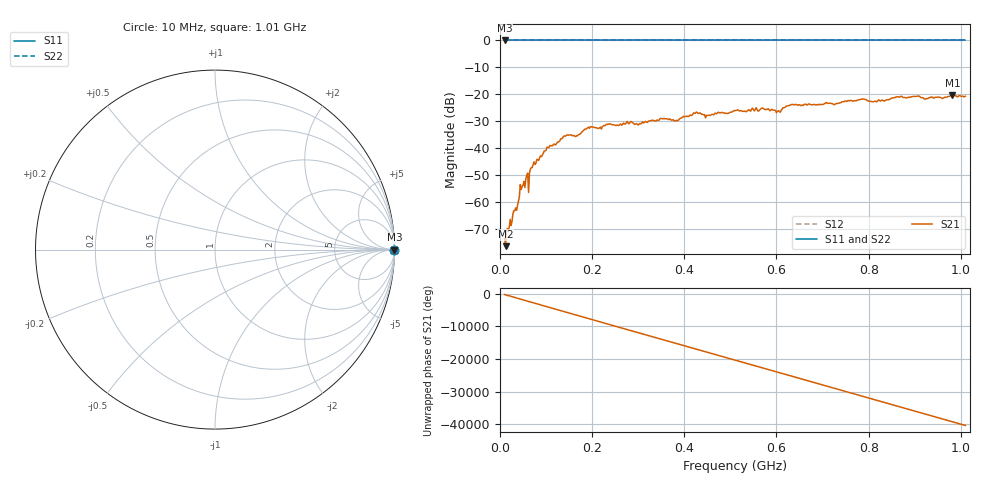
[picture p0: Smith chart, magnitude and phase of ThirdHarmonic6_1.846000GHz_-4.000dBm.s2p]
! 8/16/2025 10:20:18 PM
! C:\ANRITSUVNA\TEMP\TEMP.S2P
! CHANNEL.1
! TR.MEASUREMENT
! RAW.DATA
! RF.CORRECTION.OFF
! AVERAGING.OFF
! IF.BANDWIDTH: 5KHZ
! SWEEPTYPE:  FREQ.SWEEP(Linear)
! Reference Plane Port Info
! PORT:  PORT1  PORT2
! DISTANCE:  0  m  0  m
! TIME:  0  s  0  s
! PHASE.OFFSET:  0  deg.  0  deg.
! LOSS:  0  dB  0  dB
! REF.LOSS:  0  dB  0  dB
! REF.FREQ:  0  Hz  0  Hz
! Power Info
! POWER:  -20  dBm  -20  dBm
! EFF.POWER:  -20  dBm  -20  dBm
! SOURCE.ATTEN:  0  dB  0  dB
! TEST.ATTEN:  0  dB  0  dB
# GHZ S RI R 50.0
! FREQ.GHZ  S11RE  S11IM  S21RE  S21IM  S12RE  S12IM  S22RE  S22IM
!; PortSelection: Port_12
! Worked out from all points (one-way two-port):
!   501 points, 10 MHz to 1.01 GHz, reference 50 ohm
!   highest |S21| = -20.43 dB at 982 MHz (marker M1); lowest = -76.4 dB at 12 MHz (marker M2)
!   lowest |S11| = 0.0 dB at 10 MHz (marker M3)
!   |S11| at or under -10 dB: nowhere
!   |S22| runs from 0.0 to 0.0 dB; largest |S21 - S12| = 1.1
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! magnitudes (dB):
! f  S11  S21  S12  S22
! 10 MHz  0.0  -73.6  0.0  0.0
! 12 MHz  0.0  -76.4  0.0  0.0
! 38 MHz  0.0  -61.4  0.0  0.0
! 48 MHz  0.0  -54.2  0.0  0.0
! 56 MHz  0.0  -51.4  0.0  0.0
! 58 MHz  0.0  -50.2  0.0  0.0
! 70 MHz  0.0  -47.2  0.0  0.0
! 106 MHz  0.0  -39.8  0.0  0.0
! 142 MHz  0.0  -35.6  0.0  0.0
! 178 MHz  0.0  -33.9  0.0  0.0
! 234 MHz  0.0  -31.3  0.0  0.0
! 344 MHz  0.0  -29.8  0.0  0.0
! 382 MHz  0.0  -29.7  0.0  0.0
! 424 MHz  0.0  -27.0  0.0  0.0
! 450 MHz  0.0  -27.9  0.0  0.0
! 510 MHz  0.0  -26.1  0.0  0.0
! 604 MHz  0.0  -26.1  0.0  0.0
! 632 MHz  0.0  -23.8  0.0  0.0
! 678 MHz  0.0  -23.9  0.0  0.0
! 844 MHz  0.0  -22.0  0.0  0.0
! 982 MHz  0.0  -20.4  0.0  0.0
! 1.01 GHz  0.0  -20.7  0.0  0.0
